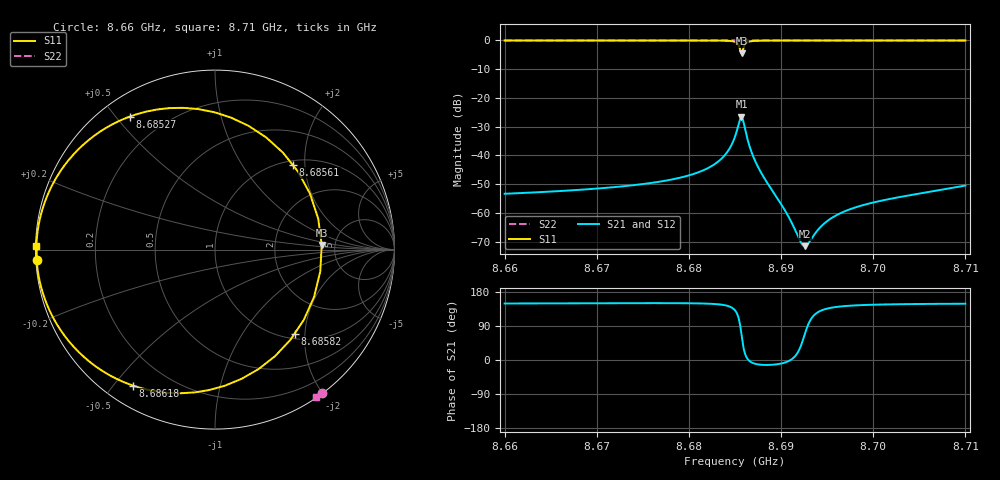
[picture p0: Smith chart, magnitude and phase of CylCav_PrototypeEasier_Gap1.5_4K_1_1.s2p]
! TOUCHSTONE file generated by CST MICROWAVE STUDIO
! Date and time: Wed Mar  5 01:27:06 2025
! Project name: CylCav_PrototypeEasier_Gap1.5.cst
! Parameters = {Cond_Cu=1e+09; d=200; gap=1.5; lhot1=0.9; lhot2=-3; lprobe=7; r=12.75; rblend=2; rblend2=1.5; rin=0.635; rout=2.05; xThick=6.25; yThick=2; zThick=7}
! Header version: 2024
! Port assignment regex: !\s*Touchstone port\s*([0-9]+)\s*=\s*(CST MWS port|CST DES external port|CST DES block port)\s*(.+)\s* \(\"(.*)\"\)(\s*mode\s*([0-9]+))?.*
! Touchstone port assignment:
! Touchstone port 1 = CST MWS port 1 ("")
! Touchstone port 2 = CST MWS port 2 ("")
# GHz S MA R 50
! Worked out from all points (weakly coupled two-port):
!   5001 points, 8.66 GHz to 8.71 GHz, reference 50 ohm
!   highest |S21| = -26.53 dB at 8.6857 GHz (marker M1); lowest = -71.5 dB at 8.69257 GHz (marker M2)
!   lowest |S11| = -4.5 dB at 8.68571 GHz (marker M3), VSWR 3.94, Z = 196 + j15.8 ohm
!   |S11| at or under -10 dB: nowhere
!   |S22| runs from 0.0 to 0.0 dB; largest |S21 - S12| = 0
!   S11 on the Smith chart (normalised r, x): 8.66 GHz: 0.00, -0.03; 8.68527 GHz: 0.08, +0.54; 8.68561 GHz: 1.08, +1.75; 8.68582 GHz: 1.11, -1.78; 8.68618 GHz: 0.08, -0.56; 8.71 GHz: 0.00, +0.01
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8.66  0.9957 -176.6  0.002158 149.1  0.002158 149.1  0.9964 -53.2
8.66834  0.9957 -177.8  0.002543 149.7  0.002543 149.7  0.9964 -53.6
8.67667  0.9955 179.9  0.003474 150.1  0.003474 150.1  0.9964 -54.1
8.68298  0.992 171.8  0.007417 147.4  0.007417 147.4  0.9964 -54.4
8.68424  0.9822 162.7  0.01197 142.5  0.01197 142.5  0.9963 -54.5
8.685  0.942 142.9  0.02122 131.0  0.02122 131.0  0.9961 -54.5
8.68527  0.8804 122.7  0.02939 119.4  0.02939 119.4  0.9959 -54.5
8.68544  0.7893 97.0  0.03736 105.7  0.03736 105.7  0.9956 -54.5
8.68561  0.6427 47.3  0.04558 83.1  0.04558 83.1  0.9951 -54.5
8.6857  0.5958 7.3  0.04714 67.6  0.04714 67.6  0.995 -54.5
8.68571  0.595 2.5  0.0471 65.9  0.0471 65.9  0.995 -54.5
8.68582  0.6467 -46.3  0.04388 47.1  0.04388 47.1  0.9952 -54.5
8.68599  0.7903 -94.4  0.03414 25.1  0.03414 25.1  0.9956 -54.5
8.68618  0.8853 -121.2  0.02489 10.8  0.02489 10.8  0.996 -54.5
8.68657  0.9539 -144.8  0.01458 -2.6  0.01458 -2.6  0.9962 -54.5
8.68727  0.9815 -159.2  0.007503 -10.5  0.007503 -10.5  0.9963 -54.6
8.68902  0.9922 -169.2  0.002486 -12.6  0.002486 -12.6  0.9964 -54.7
8.69257  0.9947 -174.2  0.0002655 68.1  0.0002655 68.1  0.9964 -54.9
8.69334  0.9949 -174.8  0.0003657 111.2  0.0003657 111.2  0.9964 -54.9
8.69618  0.9952 -176.2  0.0009474 140.6  0.0009474 140.6  0.9964 -55.0
8.70167  0.9954 -178.1  0.001741 146.8  0.001741 146.8  0.9964 -55.3
8.71  0.9954 179.0  0.003001 148.5  0.003001 148.5  0.9964 -55.7
